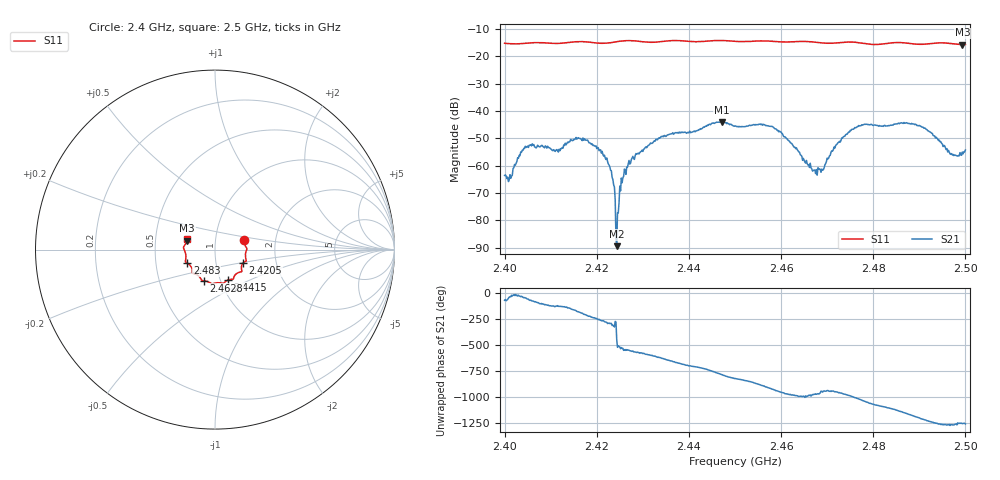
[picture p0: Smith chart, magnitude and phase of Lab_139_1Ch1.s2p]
# Hz S RI R 50
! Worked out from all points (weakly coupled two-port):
!   601 points, 2.4 GHz to 2.5 GHz, reference 50 ohm
!   highest |S21| = -44.00 dB at 2.4472 GHz (marker M1); lowest = -89.5 dB at 2.4243 GHz (marker M2)
!   lowest |S11| = -15.7 dB at 2.4993 GHz (marker M3), VSWR 1.39, Z = 36.4 + j3.67 ohm
!   |S11| at or under -10 dB: start of sweep to end of sweep
!   S12 and S22 are empty: the file has one direction only
!   S11 on the Smith chart (normalised r, x): 2.4 GHz: 1.38, +0.16; 2.4205 GHz: 1.35, -0.21; 2.4415 GHz: 1.09, -0.38; 2.4628 GHz: 0.83, -0.30; 2.483 GHz: 0.73, -0.11; 2.5 GHz: 0.73, +0.09
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2.4e9  0.163 0.0562  0.000266 -0.000605  0 0  0 0
2.405e9  0.1735 0.0129  0.00131 -0.00185  0 0  0 0
2.416667e9  0.1742 -0.0626  -0.00296 0.000509  0 0  0 0
2.4205e9  0.1552 -0.0763  -0.000637 0.00176  0 0  0 0
2.422667e9  0.1475 -0.0954  0.000269 0.000985  0 0  0 0
2.424333e9  0.1479 -0.1101  2.68e-06 -3.34e-05  0 0  0 0
2.4255e9  0.1498 -0.1174  -0.000478 -7.73e-05  0 0  0 0
2.427333e9  0.149 -0.1224  -0.00107 0.000262  0 0  0 0
2.433333e9  0.1078 -0.1472  -0.000858 0.003  0 0  0 0
2.4415e9  0.0732 -0.1691  0.00416 0.000972  0 0  0 0
2.447167e9  0.0447 -0.1887  0.00288 -0.00561  0 0  0 0
2.45e9  0.0296 -0.1848  -0.000906 -0.00525  0 0  0 0
2.457833e9  -0.0237 -0.1866  -0.00495 0.0016  0 0  0 0
2.462833e9  -0.0622 -0.1736  -0.000394 0.00213  0 0  0 0
2.466667e9  -0.0765 -0.1665  -0.000155 0.000855  0 0  0 0
2.469e9  -0.0861 -0.1522  -0.000511 0.000649  0 0  0 0
2.4755e9  -0.1259 -0.1304  0.00044 0.0046  0 0  0 0
2.483e9  -0.1543 -0.0757  0.00495 -0.00196  0 0  0 0
2.483333e9  -0.1565 -0.0744  0.00496 -0.00214  0 0  0 0
2.490333e9  -0.1632 -0.0258  -0.00314 -0.0042  0 0  0 0
2.499333e9  -0.1558 0.0491  -0.00176 -0.00016  0 0  0 0
2.5e9  -0.1533 0.058  -0.00192 -7.31e-05  0 0  0 0
